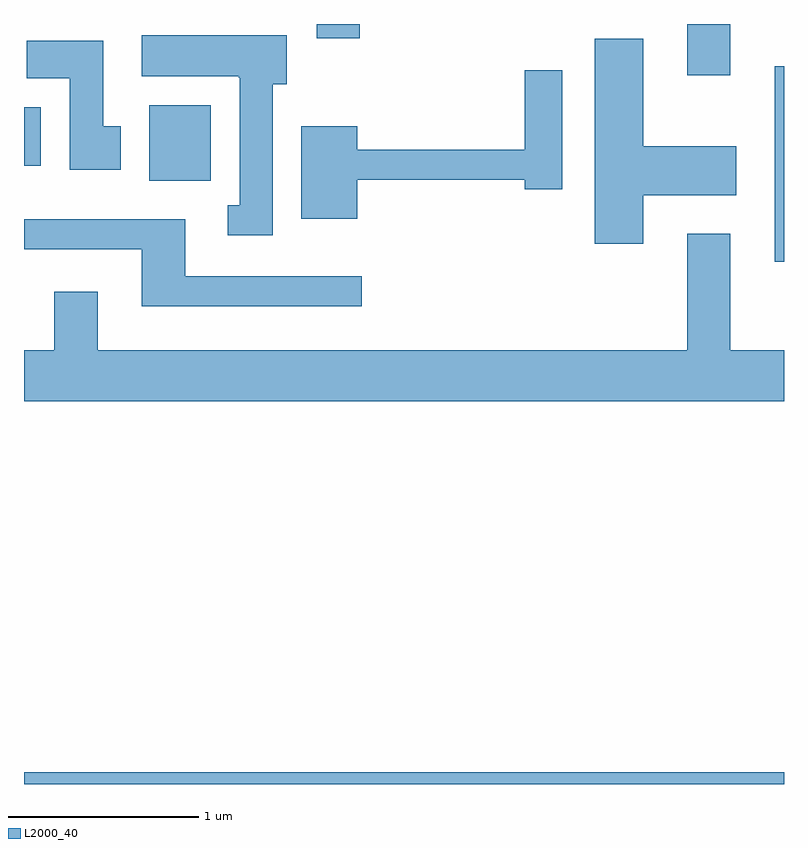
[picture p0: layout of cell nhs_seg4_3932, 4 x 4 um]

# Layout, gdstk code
import gdstk
lib = gdstk.Library(unit=1e-6, precision=1e-09)
def R(c, l, rs):  # rectangles x0, y0, x1, y1
    for r in rs: c.add(gdstk.rectangle(r[:2], r[2:], *l))
def P(c, l, *ps):  # polygons
    for p in ps: c.add(gdstk.Polygon(p, *l))
L2000_40 = (2000, 40)

nhs_seg4_3932 = lib.new_cell('nhs_seg4_3932')
R(nhs_seg4_3932, L2000_40, [(299.611,1365.982,303.611,1366.044), (303.561,1368.731,303.611,1369.759), (300.271,1369.156,300.594,1369.554), (299.611,1369.236,299.699,1369.544), (303.101,1369.711,303.329,1369.982), (301.151,1369.906,301.379,1369.982)])
P(nhs_seg4_3932, L2000_40, [(300.919,1369.666),(300.994,1369.666),(300.994,1369.924),(300.231,1369.924),(300.231,1369.706),(300.74,1369.706),(300.74,1369.7),(300.746,1369.7),(300.746,1369.029),(300.683,1369.029),(300.683,1368.871),(300.919,1368.871)],
  [(302.869,1369.081),(303.359,1369.081),(303.359,1369.339),(302.869,1369.339),(302.869,1369.904),(302.616,1369.904),(302.616,1368.826),(302.869,1368.826)],
  [(300.119,1369.444),(300.029,1369.444),(300.029,1369.894),(299.626,1369.894),(299.626,1369.696),(299.851,1369.696),(299.851,1369.216),(300.119,1369.216)],
  [(301.364,1369.161),(302.246,1369.161),(302.246,1369.111),(302.444,1369.111),(302.444,1369.739),(302.246,1369.739),(302.246,1369.319),(301.364,1369.319),(301.364,1369.444),(301.071,1369.444),(301.071,1368.956),(301.364,1368.956)],
  [(301.388,1368.654),(300.459,1368.654),(300.459,1368.954),(299.611,1368.954),(299.611,1368.796),(300.231,1368.796),(300.231,1368.496),(301.388,1368.496)],
  [(303.611,1368.264),(303.329,1368.264),(303.329,1368.879),(303.101,1368.879),(303.101,1368.264),(299.999,1368.264),(299.999,1368.574),(299.771,1368.574),(299.771,1368.264),(299.611,1368.264),(299.611,1367.996),(303.611,1367.996)])

lib.write_gds('nhs_seg4_3932.gds')
